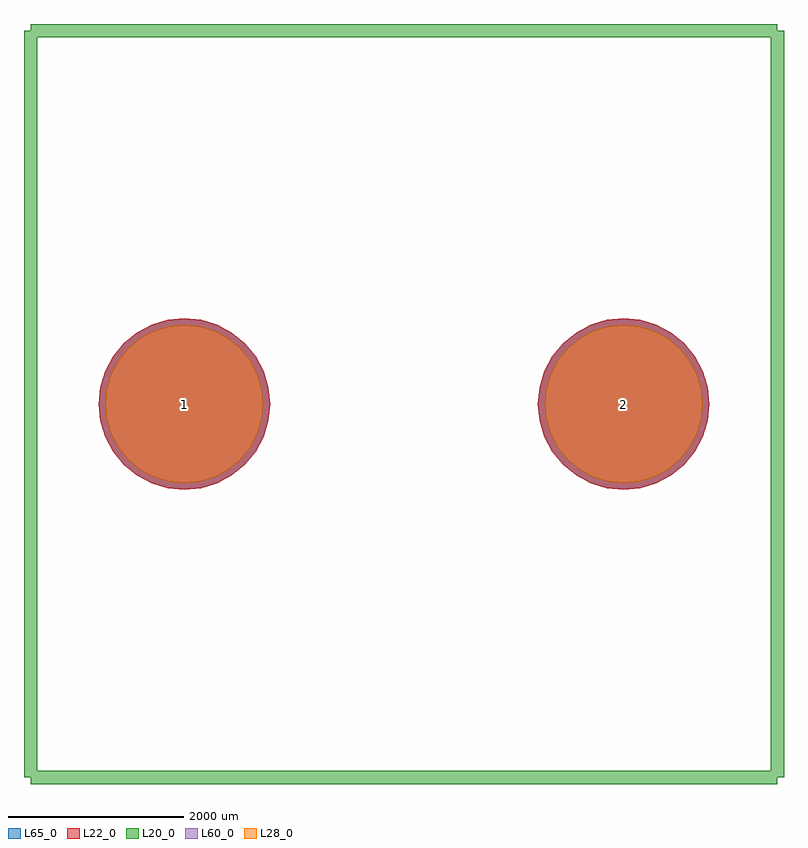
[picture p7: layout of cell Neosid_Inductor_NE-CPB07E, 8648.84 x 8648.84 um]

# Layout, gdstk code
import gdstk
lib = gdstk.Library(unit=1e-6, precision=1e-09)
def P(c, l, *ps):  # polygons
    for p in ps: c.add(gdstk.Polygon(p, *l))
L20_0 = (20, 0)
L22_0 = (22, 0)
L28_0 = (28, 0)
L60_0 = (60, 0)
L65_0 = (65, 0)

neosid_inductor_ne_cpb07 = lib.new_cell('Neosid_Inductor_NE-CPB07E')
P(neosid_inductor_ne_cpb07, L22_0, [(3474.79,0),(3456.047,190.297),(3400.54,373.281),(3310.4,541.92),(3189.093,689.733),(3041.28,811.04),(2872.641,901.18),(2689.657,956.687),(2499.36,975.43),(2309.063,956.687),(2126.079,901.18),(1957.44,811.04),(1809.627,689.733),(1688.32,541.92),(1598.18,373.281),(1542.673,190.297),(1523.93,0),(1542.673,-190.297),(1598.18,-373.281),(1688.32,-541.92),(1809.627,-689.733),(1957.44,-811.04),(2126.079,-901.18),(2309.063,-956.687),(2499.36,-975.43),(2689.657,-956.687),(2872.641,-901.18),(3041.28,-811.04),(3189.093,-689.733),(3310.4,-541.92),(3400.54,-373.281),(3456.047,-190.297)],
  [(-1523.93,0),(-1542.673,190.297),(-1598.18,373.281),(-1688.32,541.92),(-1809.627,689.733),(-1957.44,811.04),(-2126.079,901.18),(-2309.063,956.687),(-2499.36,975.43),(-2689.657,956.687),(-2872.641,901.18),(-3041.28,811.04),(-3189.093,689.733),(-3310.4,541.92),(-3400.54,373.281),(-3456.047,190.297),(-3474.79,0),(-3456.047,-190.297),(-3400.54,-373.281),(-3310.4,-541.92),(-3189.093,-689.733),(-3041.28,-811.04),(-2872.641,-901.18),(-2689.657,-956.687),(-2499.36,-975.43),(-2309.063,-956.687),(-2126.079,-901.18),(-1957.44,-811.04),(-1809.627,-689.733),(-1688.32,-541.92),(-1598.18,-373.281),(-1542.673,-190.297)])
P(neosid_inductor_ne_cpb07, L28_0, [(3399.79,0),(3382.488,175.665),(3331.249,344.58),(3248.04,500.252),(3136.06,636.7),(2999.612,748.68),(2843.94,831.889),(2675.025,883.128),(2499.36,900.43),(2323.695,883.128),(2154.78,831.889),(1999.108,748.68),(1862.66,636.7),(1750.68,500.252),(1667.471,344.58),(1616.232,175.665),(1598.93,0),(1616.232,-175.665),(1667.471,-344.58),(1750.68,-500.252),(1862.66,-636.7),(1999.108,-748.68),(2154.78,-831.889),(2323.695,-883.128),(2499.36,-900.43),(2675.025,-883.128),(2843.94,-831.889),(2999.612,-748.68),(3136.06,-636.7),(3248.04,-500.252),(3331.249,-344.58),(3382.488,-175.665)],
  [(-1598.93,0),(-1616.232,175.665),(-1667.471,344.58),(-1750.68,500.252),(-1862.66,636.7),(-1999.108,748.68),(-2154.78,831.889),(-2323.695,883.128),(-2499.36,900.43),(-2675.025,883.128),(-2843.94,831.889),(-2999.612,748.68),(-3136.06,636.7),(-3248.04,500.252),(-3331.249,344.58),(-3382.488,175.665),(-3399.79,0),(-3382.488,-175.665),(-3331.249,-344.58),(-3248.04,-500.252),(-3136.06,-636.7),(-2999.612,-748.68),(-2843.94,-831.889),(-2675.025,-883.128),(-2499.36,-900.43),(-2323.695,-883.128),(-2154.78,-831.889),(-1999.108,-748.68),(-1862.66,-636.7),(-1750.68,-500.252),(-1667.471,-344.58),(-1616.232,-175.665)])
P(neosid_inductor_ne_cpb07, L60_0, [(3399.79,0),(3382.488,175.665),(3331.249,344.58),(3248.04,500.252),(3136.06,636.7),(2999.612,748.68),(2843.94,831.889),(2675.025,883.128),(2499.36,900.43),(2323.695,883.128),(2154.78,831.889),(1999.108,748.68),(1862.66,636.7),(1750.68,500.252),(1667.471,344.58),(1616.232,175.665),(1598.93,0),(1616.232,-175.665),(1667.471,-344.58),(1750.68,-500.252),(1862.66,-636.7),(1999.108,-748.68),(2154.78,-831.889),(2323.695,-883.128),(2499.36,-900.43),(2675.025,-883.128),(2843.94,-831.889),(2999.612,-748.68),(3136.06,-636.7),(3248.04,-500.252),(3331.249,-344.58),(3382.488,-175.665)],
  [(-1598.93,0),(-1616.232,175.665),(-1667.471,344.58),(-1750.68,500.252),(-1862.66,636.7),(-1999.108,748.68),(-2154.78,831.889),(-2323.695,883.128),(-2499.36,900.43),(-2675.025,883.128),(-2843.94,831.889),(-2999.612,748.68),(-3136.06,636.7),(-3248.04,500.252),(-3331.249,344.58),(-3382.488,175.665),(-3399.79,0),(-3382.488,-175.665),(-3331.249,-344.58),(-3248.04,-500.252),(-3136.06,-636.7),(-2999.612,-748.68),(-2843.94,-831.889),(-2675.025,-883.128),(-2499.36,-900.43),(-2323.695,-883.128),(-2154.78,-831.889),(-1999.108,-748.68),(-1862.66,-636.7),(-1750.68,-500.252),(-1667.471,-344.58),(-1616.232,-175.665)])
P(neosid_inductor_ne_cpb07, L65_0, [(3474.79,0),(3456.047,190.297),(3400.54,373.281),(3310.4,541.92),(3189.093,689.733),(3041.28,811.04),(2872.641,901.18),(2689.657,956.687),(2499.36,975.43),(2309.063,956.687),(2126.079,901.18),(1957.44,811.04),(1809.627,689.733),(1688.32,541.92),(1598.18,373.281),(1542.673,190.297),(1523.93,0),(1542.673,-190.297),(1598.18,-373.281),(1688.32,-541.92),(1809.627,-689.733),(1957.44,-811.04),(2126.079,-901.18),(2309.063,-956.687),(2499.36,-975.43),(2689.657,-956.687),(2872.641,-901.18),(3041.28,-811.04),(3189.093,-689.733),(3310.4,-541.92),(3400.54,-373.281),(3456.047,-190.297)],
  [(-1523.93,0),(-1542.673,190.297),(-1598.18,373.281),(-1688.32,541.92),(-1809.627,689.733),(-1957.44,811.04),(-2126.079,901.18),(-2309.063,956.687),(-2499.36,975.43),(-2689.657,956.687),(-2872.641,901.18),(-3041.28,811.04),(-3189.093,689.733),(-3310.4,541.92),(-3400.54,373.281),(-3456.047,190.297),(-3474.79,0),(-3456.047,-190.297),(-3400.54,-373.281),(-3310.4,-541.92),(-3189.093,-689.733),(-3041.28,-811.04),(-2872.641,-901.18),(-2689.657,-956.687),(-2499.36,-975.43),(-2309.063,-956.687),(-2126.079,-901.18),(-1957.44,-811.04),(-1809.627,-689.733),(-1688.32,-541.92),(-1598.18,-373.281),(-1542.673,-190.297)])
neosid_inductor_ne_cpb07.add(gdstk.FlexPath([(4249.42,4249.42),(-4249.42,4249.42)], 149.998, ends="flush", simple_path=True, layer=20, datatype=0))  # L20_0
neosid_inductor_ne_cpb07.add(gdstk.FlexPath([(4249.42,-4249.42),(4249.42,4249.42)], 149.998, ends="flush", simple_path=True, layer=20, datatype=0))  # L20_0
neosid_inductor_ne_cpb07.add(gdstk.FlexPath([(-4249.42,-4249.42),(4249.42,-4249.42)], 149.998, ends="flush", simple_path=True, layer=20, datatype=0))  # L20_0
neosid_inductor_ne_cpb07.add(gdstk.FlexPath([(-4249.42,4249.42),(-4249.42,-4249.42)], 149.998, ends="flush", simple_path=True, layer=20, datatype=0))  # L20_0
neosid_inductor_ne_cpb07.add(gdstk.Label('2', (2499.36,0), layer=28, texttype=0))
neosid_inductor_ne_cpb07.add(gdstk.Label('1', (-2499.36,0), layer=28, texttype=0))
neosid_inductor_ne_cpb07.add(gdstk.Label('type', (-248.92,-5999.48), layer=9, texttype=0))
neosid_inductor_ne_cpb07.add(gdstk.Label('devicename', (0,5750.56), layer=9, texttype=0))

lib.write_gds('Neosid_Inductor_NE-CPB07E.gds')
